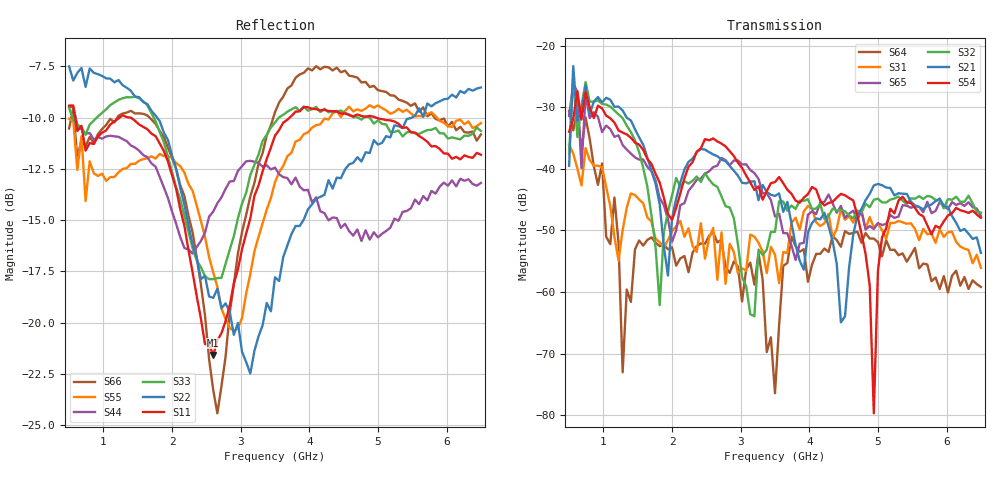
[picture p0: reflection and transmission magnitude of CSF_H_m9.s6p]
!Keysight Technologies,M9804A,MY58100912,A.14.10.03
!Date: Thursday, April 27, 2023 10:28:33
!Correction: S11(C  6-Port  )
!S12(C  6-Port  )
!S13(C  6-Port  )
!S14(C  6-Port  )
!S15(C  6-Port  )
!S16(C  6-Port  )
!S21(C  6-Port  )
!S22(C  6-Port  )
!S23(C  6-Port  )
!S24(C  6-Port  )
!S25(C  6-Port  )
!S26(C  6-Port  )
!S31(C  6-Port  )
!S32(C  6-Port  )
!S33(C  6-Port  )
!S34(C  6-Port  )
!S35(C  6-Port  )
!S36(C  6-Port  )
!S41(C  6-Port  )
!S42(C  6-Port  )
!S43(C  6-Port  )
!S44(C  6-Port  )
!S45(C  6-Port  )
!S46(C  6-Port  )
!S51(C  6-Port  )
!S52(C  6-Port  )
!S53(C  6-Port  )
!S54(C  6-Port  )
!S55(C  6-Port  )
!S56(C  6-Port  )
!S61(C  6-Port  )
!S62(C  6-Port  )
!S63(C  6-Port  )
!S64(C  6-Port  )
!S65(C  6-Port  )
!S66(C  6-Port  )
!S6P File: Measurement: :
# Hz S  RI  R 50
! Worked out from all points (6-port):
!   101 points, 500 MHz to 6.5 GHz, reference 50 ohm
!   strongest paths, dB at 500 MHz, 2 GHz, 3.5 GHz, 5 GHz, 6.5 GHz:
!     S54: -34.0, -48.3, -42.1, -56.6, -47.9
!     S21: -39.5, -48.0, -44.4, -42.4, -53.6
!     S32: -37.5, -44.3, -50.2, -44.8, -47.1
!     S65: -31.4, -51.8, -47.7, -48.8, -47.6
!     S31: -36.1, -50.1, -53.9, -48.8, -56.1
!     S64: -30.6, -52.7, -76.4, -51.9, -59.2
!   lowest |S11| = -21.6 dB at 2.6 GHz (marker M1), VSWR 1.18, Z = 42.6 + j2 ohm
!   |S11| at or under -10 dB: 588.5 MHz to 1.236 GHz (647.9 MHz wide, 71 % of centre); 1.39 GHz to 3.715 GHz (2.325 GHz wide, 91.1 % of centre); 4.97 GHz to end of sweep
